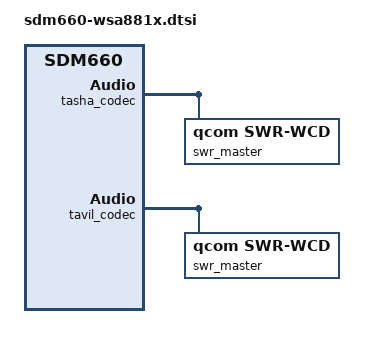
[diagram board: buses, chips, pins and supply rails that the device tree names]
/* Copyright (c) 2016, The Linux Foundation. All rights reserved.
 *
 * This program is free software; you can redistribute it and/or modify
 * it under the terms of the GNU General Public License version 2 and
 * only version 2 as published by the Free Software Foundation.
 *
 * This program is distributed in the hope that it will be useful,
 * but WITHOUT ANY WARRANTY; without even the implied warranty of
 * MERCHANTABILITY or FITNESS FOR A PARTICULAR PURPOSE.  See the
 * GNU General Public License for more details.
 */

#include "sdm660-wcd.dtsi"

&slim_aud {
	tasha_codec {
		swr_master {
			compatible = "qcom,swr-wcd";
			#address-cells = <2>;
			#size-cells = <0>;

			wsa881x_211: wsa881x@20170211 {
				status = "disabled";
			};

			wsa881x_212: wsa881x@20170212 {
				status = "disabled";
			};

			wsa881x_213: wsa881x@21170213 {
				status = "disabled";
			};

			wsa881x_214: wsa881x@21170214 {
				status = "disabled";
			};
		};
	};

	tavil_codec {
		swr_master {
			compatible = "qcom,swr-wcd";
			#address-cells = <2>;
			#size-cells = <0>;

			wsa881x_0211: wsa881x@20170211 {
				status = "disabled";
			};

			wsa881x_0212: wsa881x@20170212 {
				status = "disabled";
			};

			wsa881x_0213: wsa881x@21170213 {
				status = "disabled";
			};

			wsa881x_0214: wsa881x@21170214 {
				status = "disabled";
			};
		};
	};
};
